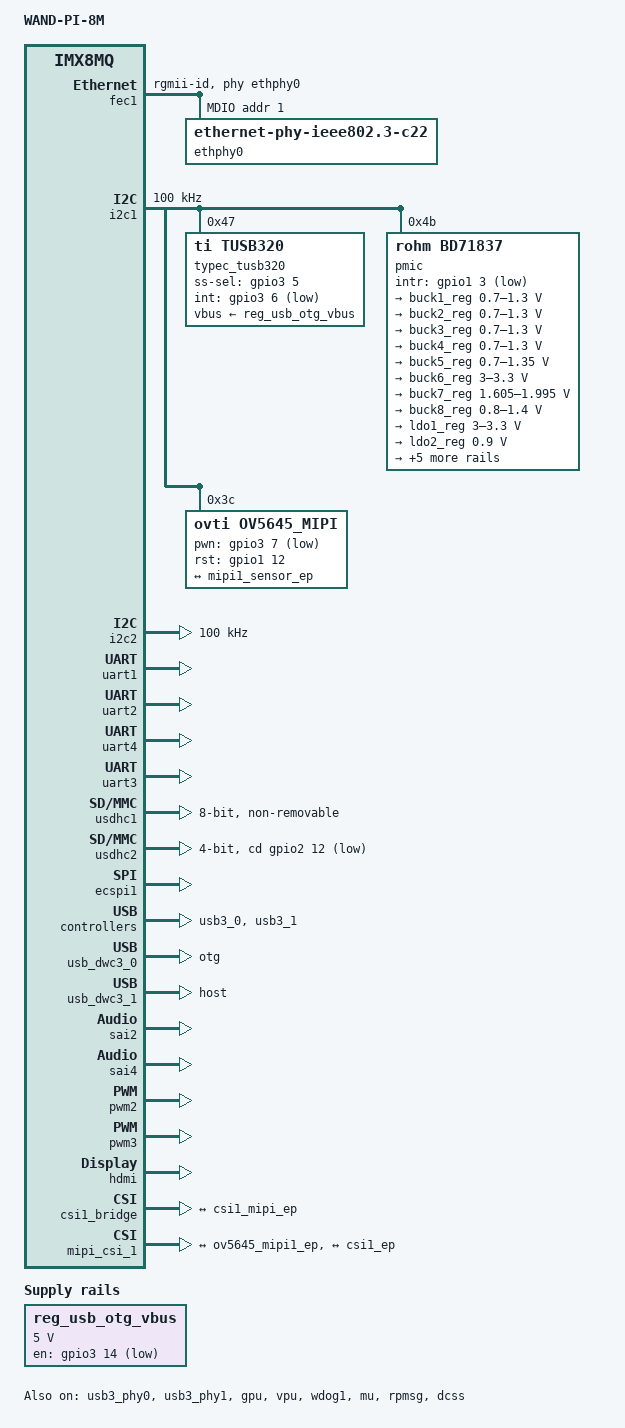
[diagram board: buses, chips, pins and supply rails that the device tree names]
/*
 * Copyright 2018 Wandboard, Org.
 * Copyright 2017 NXP
 *
 * Author: Richard Hu <hakahu@gmail.com>
 *
 * This program is free software; you can redistribute it and/or
 * modify it under the terms of the GNU General Public License
 * as published by the Free Software Foundation; either version 2
 * of the License, or (at your option) any later version.
 *
 * This program is distributed in the hope that it will be useful,
 * but WITHOUT ANY WARRANTY; without even the implied warranty of
 * MERCHANTABILITY or FITNESS FOR A PARTICULAR PURPOSE.  See the
 * GNU General Public License for more details.
 */

/dts-v1/;

#include "fsl-imx8mq.dtsi"

/ {
	model = "WAND-PI-8M";
	compatible = "wand,imx8mq-wand-pi", "fsl,imx8mq";

	chosen {
		bootargs = "console=ttymxc0,115200 earlycon=ec_imx6q,0x30860000,115200";
		stdout-path = &uart1;
	};

	regulators {
		compatible = "simple-bus";
		#address-cells = <1>;
		#size-cells = <0>;

		reg_usb_otg_vbus: usb_otg_vbus {
			pinctrl-names = "default";
			pinctrl-0 = <&pinctrl_otg_vbus>;
			compatible = "regulator-fixed";
			regulator-name = "usb_otg_vbus";
			regulator-min-microvolt = <5000000>;
			regulator-max-microvolt = <5000000>;
			gpio = <&gpio3 14 GPIO_ACTIVE_LOW>;
		};
	};

	sound-hdmi {
		compatible = "fsl,imx-audio-cdnhdmi";
		model = "imx-audio-hdmi";
		audio-cpu = <&sai4>;
		protocol = <1>;
	};

	regulator-virtuals {
		compatible = "simple-bus";

		virt-buck1 {
			compatible = "regulator-virtual";
			virtual-supply = "buck1";
		};
		virt-buck2 {
			compatible = "regulator-virtual";
			virtual-supply = "buck2";
		};
		virt-buck3 {
			compatible = "regulator-virtual";
			virtual-supply = "buck3";
		};
		virt-buck4 {
			compatible = "regulator-virtual";
			virtual-supply = "buck4";
		};
		virt-buck5 {
			compatible = "regulator-virtual";
			virtual-supply = "buck5";
		};
		virt-buck6 {
			compatible = "regulator-virtual";
			virtual-supply = "buck6";
		};
		virt-buck7 {
			compatible = "regulator-virtual";
			virtual-supply = "buck7";
		};
		virt-buck8 {
			compatible = "regulator-virtual";
			virtual-supply = "buck8";
		};
		virt-ldo1 {
			compatible = "regulator-virtual";
			virtual-supply = "ldo1";
		};
		virt-ldo2 {
			compatible = "regulator-virtual";
			virtual-supply = "ldo2";
		};
		virt-ldo3 {
			compatible = "regulator-virtual";
			virtual-supply = "ldo3";
		};
		virt-ldo4 {
			compatible = "regulator-virtual";
			virtual-supply = "ldo4";
		};
		virt-ldo5 {
			compatible = "regulator-virtual";
			virtual-supply = "ldo5";
		};
		virt-ldo6 {
			compatible = "regulator-virtual";
			virtual-supply = "ldo6";
		};
		virt-ldo7 {
			compatible = "regulator-virtual";
			virtual-supply = "ldo7";
		};
	};

	gpio-edm {
		compatible = "gpio-edm";
		pinctrl-names = "default";
		pinctrl-0 = <&pinctrl_wifi_ctrl &pinctrl_bt_ctrl>;

		wifi_wl_reg_on {
			label = "WL_REG_ON";
			gpios = <&gpio3 0 GPIO_ACTIVE_LOW>;
			dir   = "out";
		};

		wifi_pwr_en {
			label = "WIFI_PWR_EN";
			gpios = <&gpio3 15 GPIO_ACTIVE_LOW>;
			dir   = "out";
		};

		bt_on {
			label = "BT_ON";
			gpios = <&gpio3 16 GPIO_ACTIVE_LOW>;
			dir   = "out";
		};
	};
};

&clk {
	assigned-clocks = <&clk IMX8MQ_AUDIO_PLL1>;
	assigned-clock-rates = <786432000>;
};

&iomuxc {
	pinctrl-names = "default";

	wand-pi-8m {
		pinctrl_otg_vbus: otgvbusgrp {
			fsl,pins = <
				MX8MQ_IOMUXC_NAND_DQS_GPIO3_IO14		0x19   /* USB OTG VBUS Enable */
			>;
		};

		pinctrl_csi1: csi1grp {
			fsl,pins = <
				MX8MQ_IOMUXC_NAND_DATA01_GPIO3_IO7		0x19   /* CSI P1 PWDN */
				MX8MQ_IOMUXC_GPIO1_IO12_GPIO1_IO12		0x19   /* CSI nRST */
				MX8MQ_IOMUXC_GPIO1_IO15_CCMSRCGPCMIX_CLKO2	0x59
			>;
		};

		pinctrl_enet_3v3: enet3v3grp {
			fsl,pins = <
				MX8MQ_IOMUXC_GPIO1_IO00_GPIO1_IO0		0x19
			>;
		};

		pinctrl_fec1: fec1grp {
			fsl,pins = <
				MX8MQ_IOMUXC_ENET_MDC_ENET1_MDC		0x3
				MX8MQ_IOMUXC_ENET_MDIO_ENET1_MDIO	0x23
				MX8MQ_IOMUXC_ENET_TD3_ENET1_RGMII_TD3	0x1f
				MX8MQ_IOMUXC_ENET_TD2_ENET1_RGMII_TD2	0x1f
				MX8MQ_IOMUXC_ENET_TD1_ENET1_RGMII_TD1	0x1f
				MX8MQ_IOMUXC_ENET_TD0_ENET1_RGMII_TD0	0x1f
				MX8MQ_IOMUXC_ENET_RD3_ENET1_RGMII_RD3	0x91
				MX8MQ_IOMUXC_ENET_RD2_ENET1_RGMII_RD2	0x91
				MX8MQ_IOMUXC_ENET_RD1_ENET1_RGMII_RD1	0x91
				MX8MQ_IOMUXC_ENET_RD0_ENET1_RGMII_RD0	0x91
				MX8MQ_IOMUXC_ENET_TXC_ENET1_RGMII_TXC	0x1f
				MX8MQ_IOMUXC_ENET_RXC_ENET1_RGMII_RXC	0x91
				MX8MQ_IOMUXC_ENET_RX_CTL_ENET1_RGMII_RX_CTL	0x91
				MX8MQ_IOMUXC_ENET_TX_CTL_ENET1_RGMII_TX_CTL	0x1f
				MX8MQ_IOMUXC_GPIO1_IO09_GPIO1_IO9	0x19
			>;
		};

		pinctrl_i2c1: i2c1grp {
			fsl,pins = <
				MX8MQ_IOMUXC_I2C1_SCL_I2C1_SCL			0x4000007f
				MX8MQ_IOMUXC_I2C1_SDA_I2C1_SDA			0x4000007f
			>;
		};

		pinctrl_i2c2: i2c2grp {
			fsl,pins = <
				MX8MQ_IOMUXC_I2C2_SCL_I2C2_SCL			0x4000007f
				MX8MQ_IOMUXC_I2C2_SDA_I2C2_SDA			0x4000007f
			>;
		};

		pinctrl_uart1: uart1grp {
			fsl,pins = <
				MX8MQ_IOMUXC_UART1_RXD_UART1_DCE_RX		0x49
				MX8MQ_IOMUXC_UART1_TXD_UART1_DCE_TX		0x49
			>;
		};

		pinctrl_uart2: uart2grp {
			fsl,pins = <
				MX8MQ_IOMUXC_UART2_RXD_UART2_DCE_RX		0x49
				MX8MQ_IOMUXC_UART2_TXD_UART2_DCE_TX		0x49
				MX8MQ_IOMUXC_UART4_RXD_UART2_DCE_CTS_B		0x49
				MX8MQ_IOMUXC_UART4_TXD_UART2_DCE_RTS_B		0x49
			>;
		};

		pinctrl_uart4: uart4grp {
			fsl,pins = <
				MX8MQ_IOMUXC_ECSPI2_MOSI_UART4_DCE_TX		0x49
				MX8MQ_IOMUXC_ECSPI2_SCLK_UART4_DCE_RX		0x49
				MX8MQ_IOMUXC_ECSPI2_MISO_UART4_DCE_CTS_B	0x49
				MX8MQ_IOMUXC_ECSPI2_SS0_UART4_DCE_RTS_B		0x49
			>;
		};

		pinctrl_uart3: uart3grp {
			fsl,pins = <
				MX8MQ_IOMUXC_UART3_RXD_UART3_DCE_RX		0x49
				MX8MQ_IOMUXC_UART3_TXD_UART3_DCE_TX		0x49
			>;
		};

		pinctrl_usdhc1: usdhc1grp {
			fsl,pins = <
				MX8MQ_IOMUXC_SD1_CLK_USDHC1_CLK			0x83
				MX8MQ_IOMUXC_SD1_CMD_USDHC1_CMD			0xc3
				MX8MQ_IOMUXC_SD1_DATA0_USDHC1_DATA0		0xc3
				MX8MQ_IOMUXC_SD1_DATA1_USDHC1_DATA1		0xc3
				MX8MQ_IOMUXC_SD1_DATA2_USDHC1_DATA2		0xc3
				MX8MQ_IOMUXC_SD1_DATA3_USDHC1_DATA3		0xc3
				MX8MQ_IOMUXC_SD1_DATA4_USDHC1_DATA4		0xc3
				MX8MQ_IOMUXC_SD1_DATA5_USDHC1_DATA5		0xc3
				MX8MQ_IOMUXC_SD1_DATA6_USDHC1_DATA6		0xc3
				MX8MQ_IOMUXC_SD1_DATA7_USDHC1_DATA7		0xc3
				MX8MQ_IOMUXC_SD1_STROBE_USDHC1_STROBE		0x83
			>;
		};

		pinctrl_usdhc1_100mhz: usdhc1grp100mhz {
			fsl,pins = <
				MX8MQ_IOMUXC_SD1_CLK_USDHC1_CLK			0x85
				MX8MQ_IOMUXC_SD1_CMD_USDHC1_CMD			0xc5
				MX8MQ_IOMUXC_SD1_DATA0_USDHC1_DATA0		0xc5
				MX8MQ_IOMUXC_SD1_DATA1_USDHC1_DATA1		0xc5
				MX8MQ_IOMUXC_SD1_DATA2_USDHC1_DATA2		0xc5
				MX8MQ_IOMUXC_SD1_DATA3_USDHC1_DATA3		0xc5
				MX8MQ_IOMUXC_SD1_DATA4_USDHC1_DATA4		0xc5
				MX8MQ_IOMUXC_SD1_DATA5_USDHC1_DATA5		0xc5
				MX8MQ_IOMUXC_SD1_DATA6_USDHC1_DATA6		0xc5
				MX8MQ_IOMUXC_SD1_DATA7_USDHC1_DATA7		0xc5
				MX8MQ_IOMUXC_SD1_STROBE_USDHC1_STROBE		0x85
			>;
		};

		pinctrl_usdhc1_200mhz: usdhc1grp200mhz {
			fsl,pins = <
				MX8MQ_IOMUXC_SD1_CLK_USDHC1_CLK			0x87
				MX8MQ_IOMUXC_SD1_CMD_USDHC1_CMD			0xc7
				MX8MQ_IOMUXC_SD1_DATA0_USDHC1_DATA0		0xc7
				MX8MQ_IOMUXC_SD1_DATA1_USDHC1_DATA1		0xc7
				MX8MQ_IOMUXC_SD1_DATA2_USDHC1_DATA2		0xc7
				MX8MQ_IOMUXC_SD1_DATA3_USDHC1_DATA3		0xc7
				MX8MQ_IOMUXC_SD1_DATA4_USDHC1_DATA4		0xc7
				MX8MQ_IOMUXC_SD1_DATA5_USDHC1_DATA5		0xc7
				MX8MQ_IOMUXC_SD1_DATA6_USDHC1_DATA6		0xc7
				MX8MQ_IOMUXC_SD1_DATA7_USDHC1_DATA7		0xc7
				MX8MQ_IOMUXC_SD1_STROBE_USDHC1_STROBE		0x87
			>;
		};

		pinctrl_usdhc2_gpio: usdhc2grpgpio {
			fsl,pins = <
				MX8MQ_IOMUXC_SD2_CD_B_GPIO2_IO12	0x41
			>;
		};

		pinctrl_usdhc2: usdhc2grp {
			fsl,pins = <
				MX8MQ_IOMUXC_SD2_CLK_USDHC2_CLK			0x83
				MX8MQ_IOMUXC_SD2_CMD_USDHC2_CMD			0xc3
				MX8MQ_IOMUXC_SD2_DATA0_USDHC2_DATA0		0xc3
				MX8MQ_IOMUXC_SD2_DATA1_USDHC2_DATA1		0xc3
				MX8MQ_IOMUXC_SD2_DATA2_USDHC2_DATA2		0xc3
				MX8MQ_IOMUXC_SD2_DATA3_USDHC2_DATA3		0xc3
				MX8MQ_IOMUXC_GPIO1_IO04_USDHC2_VSELECT		0xc1
			>;
		};

		pinctrl_usdhc2_100mhz: usdhc2grp100mhz {
			fsl,pins = <
				MX8MQ_IOMUXC_SD2_CLK_USDHC2_CLK			0x85
				MX8MQ_IOMUXC_SD2_CMD_USDHC2_CMD			0xc5
				MX8MQ_IOMUXC_SD2_DATA0_USDHC2_DATA0		0xc5
				MX8MQ_IOMUXC_SD2_DATA1_USDHC2_DATA1		0xc5
				MX8MQ_IOMUXC_SD2_DATA2_USDHC2_DATA2		0xc5
				MX8MQ_IOMUXC_SD2_DATA3_USDHC2_DATA3		0xc5
				MX8MQ_IOMUXC_GPIO1_IO04_USDHC2_VSELECT		0xc1
			>;
		};

		pinctrl_usdhc2_200mhz: usdhc2grp200mhz {
			fsl,pins = <
				MX8MQ_IOMUXC_SD2_CLK_USDHC2_CLK			0x87
				MX8MQ_IOMUXC_SD2_CMD_USDHC2_CMD			0xc7
				MX8MQ_IOMUXC_SD2_DATA0_USDHC2_DATA0		0xc7
				MX8MQ_IOMUXC_SD2_DATA1_USDHC2_DATA1		0xc7
				MX8MQ_IOMUXC_SD2_DATA2_USDHC2_DATA2		0xc7
				MX8MQ_IOMUXC_SD2_DATA3_USDHC2_DATA3		0xc7
				MX8MQ_IOMUXC_GPIO1_IO04_USDHC2_VSELECT		0xc1
			>;
		};

		pinctrl_sai2: sai2grp {
			fsl,pins = <
				MX8MQ_IOMUXC_SAI2_TXFS_SAI2_TX_SYNC	0xd6
				MX8MQ_IOMUXC_SAI2_TXC_SAI2_TX_BCLK	0xd6
				MX8MQ_IOMUXC_SAI2_MCLK_SAI2_MCLK	0xd6
				MX8MQ_IOMUXC_SAI2_TXD0_SAI2_TX_DATA0	0xd6
			>;
		};

		pinctrl_wdog: wdoggrp {
			fsl,pins = <
				MX8MQ_IOMUXC_GPIO1_IO02_WDOG1_WDOG_B 0xc6
			>;
		};

		pinctrl_pmic: pmicirq {
			fsl,pins = <
				MX8MQ_IOMUXC_GPIO1_IO03_GPIO1_IO3	0x41
			>;
		};

		pinctrl_wifi_ctrl: wifi_ctrlgrp {
			fsl,pins = <
				MX8MQ_IOMUXC_NAND_ALE_GPIO3_IO0		0x19 /* WL_REG_ON */
				MX8MQ_IOMUXC_NAND_RE_B_GPIO3_IO15	0x19 /* WIFI_PWR_EN */
			>;
		};

		pinctrl_bt_ctrl: bt_ctrlgrp {
			fsl,pins = <
				MX8MQ_IOMUXC_NAND_READY_B_GPIO3_IO16	0x19 /* BT_ON */
			>;
		};

		pinctrl_tusb320_irq: tusb320_irqgrp {
			fsl,pins = <
				MX8MQ_IOMUXC_NAND_DATA00_GPIO3_IO6	0x41
			>;
		};

		pinctrl_typec_ss_sel: typec_ss_selgrp {
			fsl,pins = <
				MX8MQ_IOMUXC_NAND_CLE_GPIO3_IO5		0x19
			>;
		};
		pinctrl_cspi1: cspi1_grp {
			fsl,pins = <
				MX8MQ_IOMUXC_ECSPI1_SCLK_GPIO5_IO6	0x19
				MX8MQ_IOMUXC_ECSPI1_MOSI_GPIO5_IO7	0x19
				MX8MQ_IOMUXC_ECSPI1_MISO_GPIO5_IO8	0x19
				MX8MQ_IOMUXC_ECSPI1_SS0_GPIO5_IO9	0x19
			>;
		};
		pinctrl_pwm2: pwm2_grp {
			fsl,pins = <
				MX8MQ_IOMUXC_GPIO1_IO13_PWM2_OUT		0x16
			>;
		};
		pinctrl_pwm3: pwm3_grp {
			fsl,pins = <
				MX8MQ_IOMUXC_GPIO1_IO14_PWM3_OUT		0x16
			>;
		};
	};
};

&fec1 {
	pinctrl-names = "default";
	pinctrl-0 = <&pinctrl_fec1 &pinctrl_enet_3v3>;
	phy-mode = "rgmii-id";
	pinctrl-assert-gpios = <&gpio1 0 GPIO_ACTIVE_HIGH>;
	phy-handle = <&ethphy0>;
	fsl,magic-packet;
	status = "okay";

	mdio {
		#address-cells = <1>;
		#size-cells = <0>;

		ethphy0: ethernet-phy@1 {
			compatible = "ethernet-phy-ieee802.3-c22";
			reg = <1>;
			at803x,led-act-blind-workaround;
			at803x,eee-disabled;
		};
	};
};

&i2c1 {
	clock-frequency = <100000>;
	pinctrl-names = "default";
	pinctrl-0 = <&pinctrl_i2c1>;
	status = "okay";

	typec_tusb320:tusb320@47 {
		compatible = "ti,tusb320";
		pinctrl-names = "default";
		pinctrl-0 = <&pinctrl_tusb320_irq &pinctrl_typec_ss_sel>;
		reg = <0x47>;
		vbus-supply = <&reg_usb_otg_vbus>;
		ss-sel-gpios = <&gpio3 5 GPIO_ACTIVE_HIGH>;
		tusb320,int-gpio = <&gpio3 6 GPIO_ACTIVE_LOW>;
		tusb320,select-mode = <0>;
		tusb320,dfp-power = <0>;
	};

	pmic: bd71837@4b {
		reg = <0x4b>;
		compatible = "rohm,bd71837";
		/* PMIC BD71837 PMIC_nINT GPIO1_IO3 */
		pinctrl-0 = <&pinctrl_pmic>;
		gpio_intr = <&gpio1 3 GPIO_ACTIVE_LOW>;

		bd71837,pmic-buck1-uses-i2c-dvs;
		bd71837,pmic-buck1-dvs-voltage = <900000>, <850000>, <800000>; /* VDD_SOC: Run-Idle-Suspend */
		bd71837,pmic-buck2-uses-i2c-dvs;
		bd71837,pmic-buck2-dvs-voltage = <1000000>, <900000>, <0>; /* VDD_ARM: Run-Idle */
		bd71837,pmic-buck3-uses-i2c-dvs;
		bd71837,pmic-buck3-dvs-voltage = <1000000>, <0>, <0>; /* VDD_GPU: Run */
		bd71837,pmic-buck4-uses-i2c-dvs;
		bd71837,pmic-buck4-dvs-voltage = <1000000>, <0>, <0>; /* VDD_VPU: Run */

		gpo {
			rohm,drv = <0x0C>;	/* 0b0000_1100 all gpos with cmos output mode */
		};

		regulators {
			#address-cells = <1>;
			#size-cells = <0>;

			buck1_reg: regulator@0 {
				reg = <0>;
				regulator-compatible = "buck1";
				regulator-min-microvolt = <700000>;
				regulator-max-microvolt = <1300000>;
				regulator-boot-on;
				regulator-always-on;
				regulator-ramp-delay = <1250>;
			};

			buck2_reg: regulator@1 {
				reg = <1>;
				regulator-compatible = "buck2";
				regulator-min-microvolt = <700000>;
				regulator-max-microvolt = <1300000>;
				regulator-boot-on;
				regulator-always-on;
				regulator-ramp-delay = <1250>;
			};

			buck3_reg: regulator@2 {
				reg = <2>;
				regulator-compatible = "buck3";
				regulator-min-microvolt = <700000>;
				regulator-max-microvolt = <1300000>;
				regulator-boot-on;
				regulator-always-on;
			};

			buck4_reg: regulator@3 {
				reg = <3>;
				regulator-compatible = "buck4";
				regulator-min-microvolt = <700000>;
				regulator-max-microvolt = <1300000>;
				regulator-boot-on;
				regulator-always-on;
			};

			buck5_reg: regulator@4 {
				reg = <4>;
				regulator-compatible = "buck5";
				regulator-min-microvolt = <700000>;
				regulator-max-microvolt = <1350000>;
				regulator-boot-on;
				regulator-always-on;
			};

			buck6_reg: regulator@5 {
				reg = <5>;
				regulator-compatible = "buck6";
				regulator-min-microvolt = <3000000>;
				regulator-max-microvolt = <3300000>;
				regulator-boot-on;
				regulator-always-on;
			};

			buck7_reg: regulator@6 {
				reg = <6>;
				regulator-compatible = "buck7";
				regulator-min-microvolt = <1605000>;
				regulator-max-microvolt = <1995000>;
				regulator-boot-on;
				regulator-always-on;
			};

			buck8_reg: regulator@7 {
				reg = <7>;
				regulator-compatible = "buck8";
				regulator-min-microvolt = <800000>;
				regulator-max-microvolt = <1400000>;
				regulator-boot-on;
				regulator-always-on;
			};

			ldo1_reg: regulator@8 {
				reg = <8>;
				regulator-compatible = "ldo1";
				regulator-min-microvolt = <3000000>;
				regulator-max-microvolt = <3300000>;
				regulator-boot-on;
				regulator-always-on;
			};

			ldo2_reg: regulator@9 {
				reg = <9>;
				regulator-compatible = "ldo2";
				regulator-min-microvolt = <900000>;
				regulator-max-microvolt = <900000>;
				regulator-boot-on;
				regulator-always-on;
			};

			ldo3_reg: regulator@10 {
				reg = <10>;
				regulator-compatible = "ldo3";
				regulator-min-microvolt = <1800000>;
				regulator-max-microvolt = <3300000>;
				regulator-boot-on;
				regulator-always-on;
			};

			ldo4_reg: regulator@11 {
				reg = <11>;
				regulator-compatible = "ldo4";
				regulator-min-microvolt = <900000>;
				regulator-max-microvolt = <1800000>;
				regulator-boot-on;
				regulator-always-on;
			};

			ldo5_reg: regulator@12 {
				reg = <12>;
				regulator-compatible = "ldo5";
				regulator-min-microvolt = <1800000>;
				regulator-max-microvolt = <3300000>;
				regulator-boot-on;
				regulator-always-on;
			};

			ldo6_reg: regulator@13 {
				reg = <13>;
				regulator-compatible = "ldo6";
				regulator-min-microvolt = <900000>;
				regulator-max-microvolt = <1800000>;
				regulator-boot-on;
				regulator-always-on;
			};

			ldo7_reg: regulator@14 {
				reg = <14>;
				regulator-compatible = "ldo7";
				regulator-min-microvolt = <1800000>;
				regulator-max-microvolt = <3300000>;
				regulator-boot-on;
				regulator-always-on;
			};
		};
	};

	ov5645_mipi: ov5645_mipi@3c {
		compatible = "ovti,ov5645_mipi";
		reg = <0x3c>;
		status = "okay";
		pinctrl-names = "default";
		pinctrl-0 = <&pinctrl_csi1>;
		clocks = <&clk IMX8MQ_CLK_CLKO2_DIV>;
		clock-names = "csi_mclk";
		assigned-clocks = <&clk IMX8MQ_CLK_CLKO2_SRC>,
				  <&clk IMX8MQ_CLK_CLKO2_DIV>;
		assigned-clock-parents = <&clk IMX8MQ_SYS2_PLL_200M>;
		assigned-clock-rates = <0>, <20000000>;
		csi_id = <0>;
		pwn-gpios = <&gpio3 7 GPIO_ACTIVE_LOW>;
		rst-gpios = <&gpio1 12 GPIO_ACTIVE_HIGH>;
		mclk = <20000000>;
		mclk_source = <0>;
		port {
			ov5645_mipi1_ep: endpoint {
				remote-endpoint = <&mipi1_sensor_ep>;
			};
		};
	};
};

&i2c2 {
	clock-frequency = <100000>;
	pinctrl-names = "default";
	pinctrl-0 = <&pinctrl_i2c2>;
	status = "okay";
};

&uart1 { /* console */
	pinctrl-names = "default";
	pinctrl-0 = <&pinctrl_uart1>;
	assigned-clocks = <&clk IMX8MQ_CLK_UART1_SRC>;
	assigned-clock-parents = <&clk IMX8MQ_CLK_25M>;
	status = "okay";
};

&uart2 { /* Bluetooth */
	pinctrl-names = "default";
	pinctrl-0 = <&pinctrl_uart2>;
	assigned-clocks = <&clk IMX8MQ_CLK_UART2_SRC>;
	assigned-clock-parents = <&clk IMX8MQ_CLK_25M>;
	fsl,uart-has-rtscts;
	status = "okay";
};

&uart4 { /* 2nd console, CLIX connector */
	pinctrl-names = "default";
	pinctrl-0 = <&pinctrl_uart4>;
	assigned-clocks = <&clk IMX8MQ_CLK_UART4_SRC>;
	assigned-clock-parents = <&clk IMX8MQ_CLK_25M>;
	fsl,uart-has-rtscts;
	status = "okay";
};

&uart3 { /* 2nd console, CLIX connector */
	pinctrl-names = "default";
	pinctrl-0 = <&pinctrl_uart3>;
	assigned-clocks = <&clk IMX8MQ_CLK_UART3_SRC>;
	assigned-clock-parents = <&clk IMX8MQ_CLK_25M>;
	status = "okay";
};

&usdhc1 {
	pinctrl-names = "default", "state_100mhz", "state_200mhz";
	pinctrl-0 = <&pinctrl_usdhc1>;
	pinctrl-1 = <&pinctrl_usdhc1_100mhz>;
	pinctrl-2 = <&pinctrl_usdhc1_200mhz>;
	bus-width = <8>;
	non-removable;
	status = "okay";
};

&usdhc2 {
	pinctrl-names = "default", "state_100mhz", "state_200mhz";
	pinctrl-0 = <&pinctrl_usdhc2>, <&pinctrl_usdhc2_gpio>;
	pinctrl-1 = <&pinctrl_usdhc2_100mhz>, <&pinctrl_usdhc2_gpio>;
	pinctrl-2 = <&pinctrl_usdhc2_200mhz>, <&pinctrl_usdhc2_gpio>;
	bus-width = <4>;
	cd-gpios = <&gpio2 12 GPIO_ACTIVE_LOW>;
	status = "okay";
};

&ecspi1 {
	pinctrl-names = "default";
	pinctrl-0 = <&pinctrl_cspi1>;
	status = "okay";
};

&usb3_phy0 {
	status = "okay";
};

&usb3_0 {
	status = "okay";
};

&usb_dwc3_0 {
	extcon = <&typec_tusb320>;
	dr_mode = "otg";
	status = "okay";
};

&usb3_phy1 {
	status = "okay";
};

&usb3_1 {
	status = "okay";
};

&usb_dwc3_1 {
	status = "okay";
	dr_mode = "host";
};

&sai2 {
	pinctrl-names = "default";
	pinctrl-0 = <&pinctrl_sai2>;
	assigned-clocks = <&clk IMX8MQ_CLK_SAI2_SRC>,
			<&clk IMX8MQ_CLK_SAI2_DIV>;
	assigned-clock-parents = <&clk IMX8MQ_AUDIO_PLL1_OUT>;
	assigned-clock-rates = <0>, <24576000>;
	status = "okay";
};

&sai4 {
	assigned-clocks = <&clk IMX8MQ_CLK_SAI4_SRC>,
			<&clk IMX8MQ_CLK_SAI4_DIV>;
	assigned-clock-parents = <&clk IMX8MQ_AUDIO_PLL1_OUT>;
	assigned-clock-rates = <0>, <24576000>;
	status = "okay";
};

&gpu_pd {
	power-supply = <&buck3_reg>;
};

&vpu_pd {
	power-supply = <&buck4_reg>;
};

&gpu {
	status = "okay";
};

&vpu {
	regulator-supply = <&buck4_reg>;
	status = "okay";
};

&wdog1 {
	pinctrl-names = "default";
	pinctrl-0 = <&pinctrl_wdog>;
	fsl,ext-reset-output;
	status = "okay";
};

&pwm2 {
	pinctrl-names = "default";
	pinctrl-0 = <&pinctrl_pwm2>;
	status = "okay";
};

&pwm3 {
	pinctrl-names = "default";
	pinctrl-0 = <&pinctrl_pwm3>;
	status = "okay";
};

&mu {
	status = "okay";
};

&rpmsg{
	/*
	 * 64K for one rpmsg instance:
	 * --0xb8000000~0xb800ffff: pingpong
	 */
	vdev-nums = <1>;
	reg = <0x0 0xb8000000 0x0 0x10000>;
	status = "okay";
};

&A53_0 {
	operating-points = <
		/* kHz    uV */
		1500000 1000000
		1300000 1000000
		1000000 900000
		800000  900000
	>;
};

&dcss {
	status = "okay";

	disp-dev = "hdmi_disp";
};

&hdmi {
	status = "okay";
};

&csi1_bridge {
	fsl,mipi-mode;
	fsl,two-8bit-sensor-mode;
	status = "okay";

	port {
		csi1_ep: endpoint {
			remote-endpoint = <&csi1_mipi_ep>;
		};
	};
};

&mipi_csi_1 {
	#address-cells = <1>;
	#size-cells = <0>;
	status = "okay";
	port {
		mipi1_sensor_ep: endpoint1 {
			remote-endpoint = <&ov5645_mipi1_ep>;
			data-lanes = <1 2>;
		};

		csi1_mipi_ep: endpoint2 {
			remote-endpoint = <&csi1_ep>;
		};
	};
};
